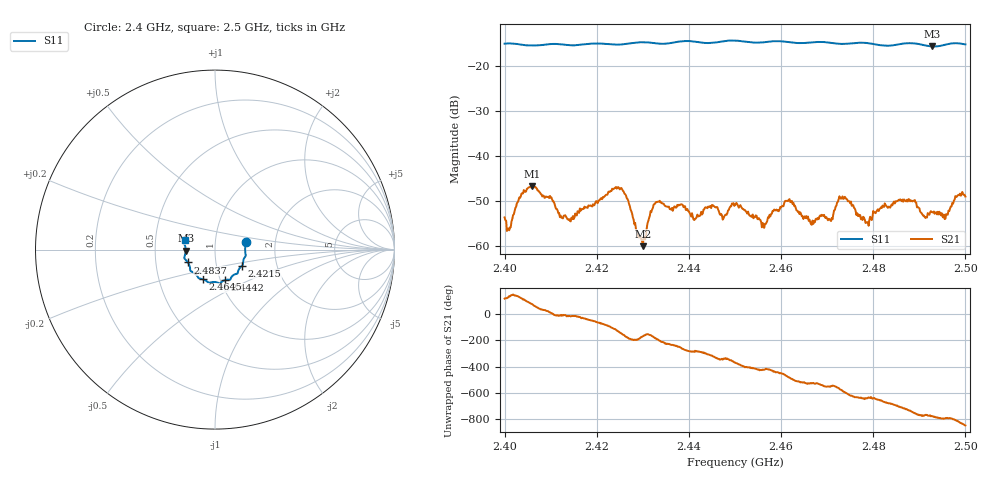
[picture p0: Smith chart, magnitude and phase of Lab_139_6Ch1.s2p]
# Hz S RI R 50
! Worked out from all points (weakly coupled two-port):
!   601 points, 2.4 GHz to 2.5 GHz, reference 50 ohm
!   highest |S21| = -46.82 dB at 2.406 GHz (marker M1); lowest = -60.1 dB at 2.43 GHz (marker M2)
!   lowest |S11| = -15.7 dB at 2.4928 GHz (marker M3), VSWR 1.39, Z = 35.9 - j0.376 ohm
!   |S11| at or under -10 dB: start of sweep to end of sweep
!   S12 and S22 are empty: the file has one direction only
!   S11 on the Smith chart (normalised r, x): 2.4 GHz: 1.41, +0.12; 2.4215 GHz: 1.33, -0.25; 2.4442 GHz: 1.05, -0.37; 2.4645 GHz: 0.83, -0.29; 2.4837 GHz: 0.73, -0.11; 2.5 GHz: 0.71, +0.07
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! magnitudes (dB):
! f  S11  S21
! 2.4 GHz  -15.1  -53.7
! 2.401 GHz  -15.0  -56.6
! 2.406 GHz  -15.5  -46.8
! 2.4122 GHz  -15.2  -53.3
! 2.4167 GHz  -15.3  -51.9
! 2.4215 GHz  -15.1  -49.3
! 2.4257 GHz  -15.2  -47.8
! 2.43 GHz  -14.8  -60.1
! 2.4333 GHz  -15.1  -50.2
! 2.4442 GHz  -15.0  -51.3
! 2.45 GHz  -14.4  -51.0
! 2.4562 GHz  -14.8  -55.4
! 2.4613 GHz  -14.7  -50.1
! 2.4645 GHz  -15.0  -53.5
! 2.4667 GHz  -14.8  -55.4
! 2.4707 GHz  -14.9  -54.4
! 2.473 GHz  -15.1  -49.6
! 2.4787 GHz  -15.0  -54.8
! 2.4833 GHz  -15.6  -51.4
! 2.4837 GHz  -15.5  -51.6
! 2.4928 GHz  -15.7  -52.6
! 2.5 GHz  -15.3  -49.1
